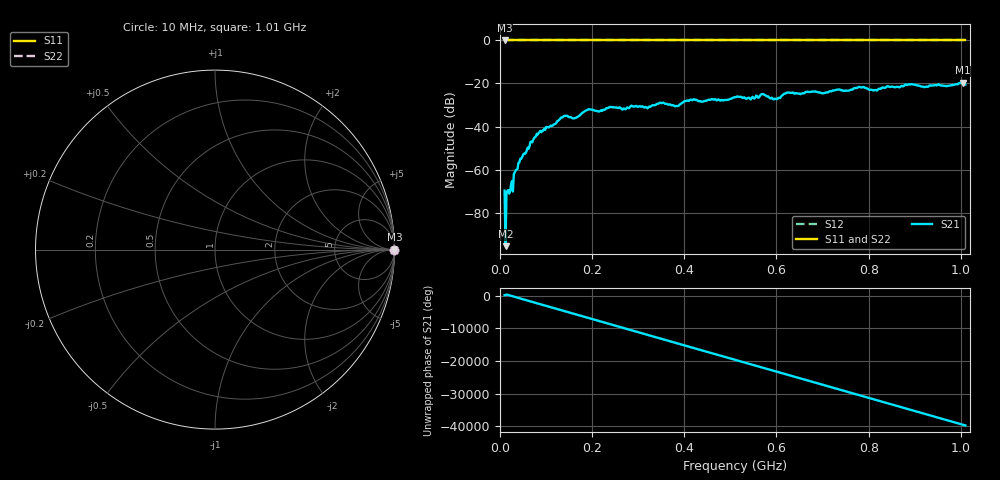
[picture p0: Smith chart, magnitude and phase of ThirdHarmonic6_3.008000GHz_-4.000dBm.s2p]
! 8/17/2025 8:37:10 AM
! C:\ANRITSUVNA\TEMP\TEMP.S2P
! CHANNEL.1
! TR.MEASUREMENT
! RAW.DATA
! RF.CORRECTION.OFF
! AVERAGING.OFF
! IF.BANDWIDTH: 5KHZ
! SWEEPTYPE:  FREQ.SWEEP(Linear)
! Reference Plane Port Info
! PORT:  PORT1  PORT2
! DISTANCE:  0  m  0  m
! TIME:  0  s  0  s
! PHASE.OFFSET:  0  deg.  0  deg.
! LOSS:  0  dB  0  dB
! REF.LOSS:  0  dB  0  dB
! REF.FREQ:  0  Hz  0  Hz
! Power Info
! POWER:  -20  dBm  -20  dBm
! EFF.POWER:  -20  dBm  -20  dBm
! SOURCE.ATTEN:  0  dB  0  dB
! TEST.ATTEN:  0  dB  0  dB
# GHZ S RI R 50.0
! FREQ.GHZ  S11RE  S11IM  S21RE  S21IM  S12RE  S12IM  S22RE  S22IM
!; PortSelection: Port_12
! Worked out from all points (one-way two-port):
!   501 points, 10 MHz to 1.01 GHz, reference 50 ohm
!   highest |S21| = -19.64 dB at 1.004 GHz (marker M1); lowest = -95.6 dB at 12 MHz (marker M2)
!   lowest |S11| = 0.0 dB at 10 MHz (marker M3)
!   |S11| at or under -10 dB: nowhere
!   |S22| runs from 0.0 to 0.0 dB; largest |S21 - S12| = 1.1
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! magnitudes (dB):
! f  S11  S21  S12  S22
! 10 MHz  0.0  -69.8  0.0  0.0
! 12 MHz  0.0  -95.6  0.0  0.0
! 16 MHz  0.0  -69.9  0.0  0.0
! 24 MHz  0.0  -67.0  0.0  0.0
! 34 MHz  0.0  -60.3  0.0  0.0
! 44 MHz  0.0  -55.0  0.0  0.0
! 84 MHz  0.0  -43.1  0.0  0.0
! 136 MHz  0.0  -35.7  0.0  0.0
! 162 MHz  0.0  -36.1  0.0  0.0
! 178 MHz  0.0  -33.8  0.0  0.0
! 194 MHz  0.0  -32.0  0.0  0.0
! 344 MHz  0.0  -29.4  0.0  0.0
! 384 MHz  0.0  -30.5  0.0  0.0
! 416 MHz  0.0  -27.7  0.0  0.0
! 510 MHz  0.0  -26.3  0.0  0.0
! 570 MHz  0.0  -25.0  0.0  0.0
! 598 MHz  0.0  -27.1  0.0  0.0
! 624 MHz  0.0  -24.3  0.0  0.0
! 678 MHz  0.0  -23.7  0.0  0.0
! 844 MHz  0.0  -21.5  0.0  0.0
! 1.004 GHz  0.0  -19.6  0.0  0.0
! 1.01 GHz  0.0  -20.5  0.0  0.0
